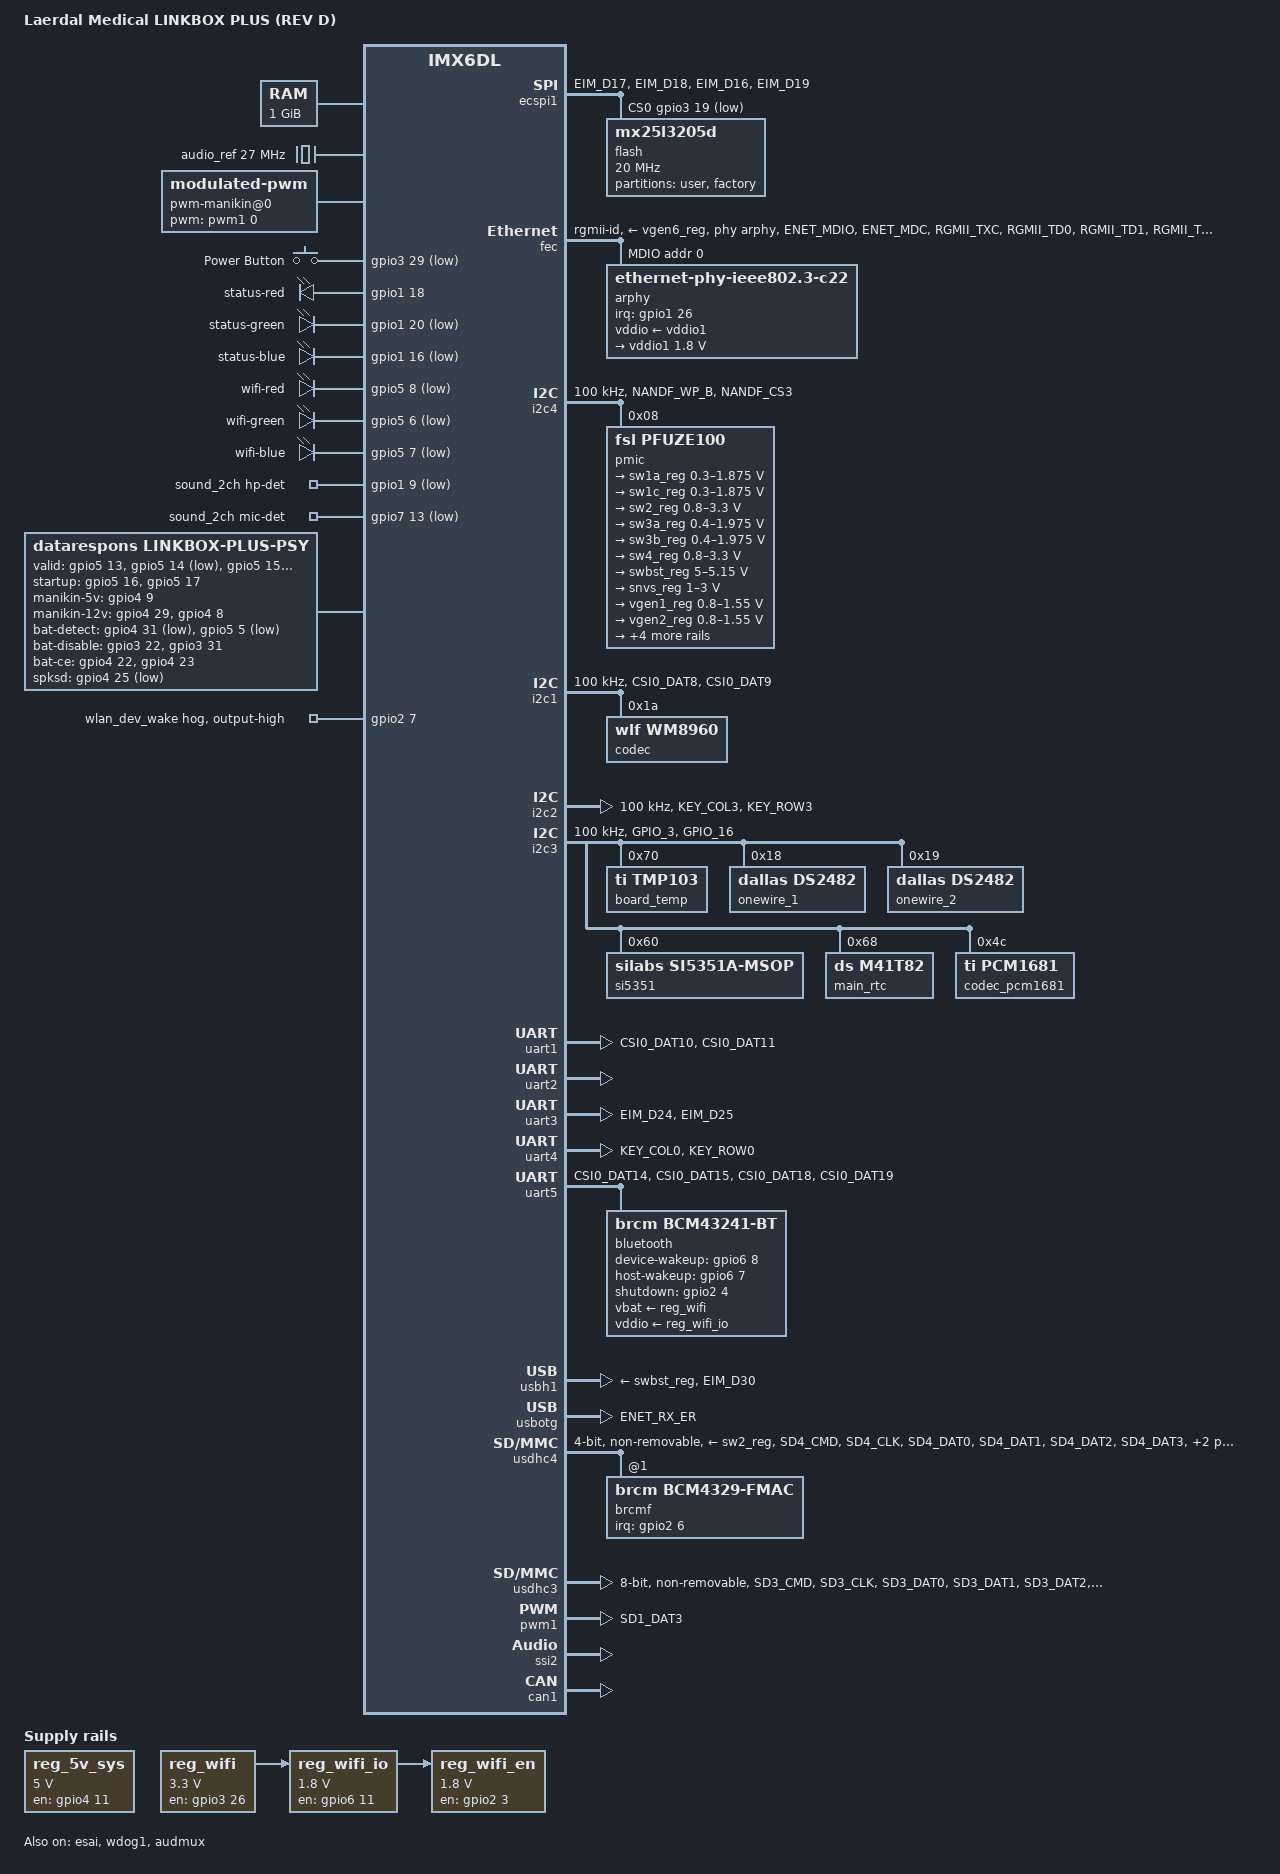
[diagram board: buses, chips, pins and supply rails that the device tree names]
/*
 * Copyright DATA RESPONS AS
 *
 * The code contained herein is licensed under the GNU General Public
 * License. You may obtain a copy of the GNU General Public License
 * Version 2 or later at the following locations:
 *
 * http://www.opensource.org/licenses/gpl-license.html
 * http://www.gnu.org/copyleft/gpl.html
 */

/dts-v1/;

#include "imx6dl.dtsi"
#include <dt-bindings/input/input.h>
#include <dt-bindings/pwm/pwm.h>
#include <dt-bindings/gpio/gpio.h>
#include <dt-bindings/net/qca-ar803x.h>

/ {
	model = "Laerdal Medical LINKBOX PLUS (REV D)";
	compatible = "datarespons,linkbox2", "fsl,imx6dl";

	aliases {
		mmc0 = &usdhc3;
		mmc1 = &usdhc4;
		rtc0 = &main_rtc;
	};

	memory {
		reg = <0x10000000 0x40000000>;
	};

	clocks {
		/* 27MHz reference crystal */
		audio_ref: clock@0 {
			#clock-cells = <0>;
			compatible = "fixed-clock";
			clock-output-names = "esai-clock";
			clock-frequency = <27000000>;
		};

		bt_clk: clock@1 {
			#clock-cells = <0>;
			compatible = "fixed-clock";
			clock-output-names = "lpo";
			clock-frequency = <32768>;
		};
	};

	display-subsystem {
		status = "disabled";
	};

	capture-subsystem {
		status = "disabled";
	};

	regulators {
		compatible = "simple-bus";

		reg_5v_sys: system_5v {
			compatible = "regulator-fixed";
			regulator-name = "5V";
			regulator-min-microvolt = <5000000>;
			regulator-max-microvolt = <5000000>;
			gpio = <&gpio4 11 0>;
			enable-active-high;
			regulator-boot-on;
			regulator-always-on;
		};

		reg_wifi: wifi_pwr {
			compatible = "regulator-fixed";
			regulator-name = "reg_wifi";
			regulator-min-microvolt = <3300000>;
			regulator-max-microvolt = <3300000>;
			gpio = <&gpio3 26 0>;
			enable-active-high;
			regulator-always-on;
		};

		reg_wifi_io: wifi_pwr_io {
			compatible = "regulator-fixed";
			regulator-name = "reg_wifi_io";
			regulator-min-microvolt = <1800000>;
			regulator-max-microvolt = <1800000>;
			gpio = <&gpio6 11 0>;
			enable-active-high;
			vin-supply = <&reg_wifi>;
			startup-delay-us = <100>;
			regulator-always-on;
		};

		reg_wifi_en: wifi_enable {
			compatible = "regulator-fixed";
			regulator-name = "reg_wifi_enable";
			regulator-min-microvolt = <1800000>;
			regulator-max-microvolt = <1800000>;
			gpio = <&gpio2 3 0>;
			enable-active-high;
			vin-supply = <&reg_wifi_io>;
			startup-delay-us = <300>;
			regulator-always-on;
		};

/*
		reg_bt_en: bt_enable {
			compatible = "regulator-fixed";
			regulator-name = "reg_bt_enable";
			regulator-min-microvolt = <1800000>;
			regulator-max-microvolt = <1800000>;
			gpio = <&gpio2 4 0>;
			enable-active-high;
			vin-supply = <&reg_wifi_io>;
			startup-delay-us = <300>;
			regulator-always-on;
		};
*/
	};

	pwm-manikin@0 {
		compatible = "modulated-pwm";
		pwms = <&pwm1 0 40000>;
		status = "okay";
		inverted;
		period = <40000>;
	};

	gpio-keys {
		compatible = "gpio-keys";
		power {
			label = "Power Button";
			gpios = <&gpio3 29 GPIO_ACTIVE_LOW>;
			linux,code = <116>; /* KEY_POWER */
			gpio-key,wakeup;
		};

	};
/*
	user-gpios {
		gpio-spinor-wp {
			gpios = <&gpio3 20 GPIO_ACTIVE_HIGH>;
			status = "okay";
			value = <1>;
		};

		gpio-hw-setting0 {
			gpios = <&gpio3 27 GPIO_ACTIVE_HIGH>;
			status = "okay";
		};

		gpio-hw-setting1 {
			gpios = <&gpio3 28 GPIO_ACTIVE_HIGH>;
			status = "okay";
		};

		gpio-hw-setting2 {
			gpios = <&gpio4 10 GPIO_ACTIVE_HIGH>;
			status = "okay";
		};

		gpio-ddr-setting {
			gpios = <&gpio4 21 GPIO_ACTIVE_HIGH>;
			status = "okay";
		};

		gpio-mcu-rst {
			gpios = <&gpio4 26 GPIO_ACTIVE_LOW>;
			status = "okay";
			bidir;
		};

		gpio-mcu-boot0 {
			gpios = <&gpio4 27 GPIO_ACTIVE_HIGH>;
			status = "okay";
			bidir;
		};

		gpio-mcu-boot1 {
			gpios = <&gpio4 28 GPIO_ACTIVE_HIGH>;
			status = "okay";
			bidir;
		};

		gpio-can-en {
			gpios = <&gpio3 21 GPIO_ACTIVE_HIGH>;
			status = "okay";
			value = <0>;
		};

		gpio-wlan-dev-wake {
			gpios = <&gpio2 7 GPIO_ACTIVE_HIGH>;
			status = "okay";
			value = <1>;
		};


		gpio-pwm3 {
			gpios = <&gpio1 17 GPIO_ACTIVE_HIGH>;
			status = "okay";
			value = <0>;
		};

		gpio-pwm2 {
			gpios = <&gpio1 19 GPIO_ACTIVE_HIGH>;
			status = "okay";
			value = <0>;
		};
	};
*/

	leds {
		compatible = "gpio-leds";

		status-red {
			gpios = <&gpio1 18 GPIO_ACTIVE_HIGH>;
			default-state = "off";
		};

		status-green {
			gpios = <&gpio1 20 GPIO_ACTIVE_LOW>;
			default-state = "on";
			linux,default-trigger = "timer";
		};

		status-blue {
			gpios = <&gpio1 16 GPIO_ACTIVE_LOW>;
			default-state = "off";
		};

		wifi-red {
			gpios = <&gpio5 8 GPIO_ACTIVE_LOW>;
			default-state = "off";
		};

		wifi-green {
			gpios = <&gpio5 6 GPIO_ACTIVE_LOW>;
			default-state = "off";
		};

		wifi-blue {
			gpios = <&gpio5 7 GPIO_ACTIVE_LOW>;
			default-state = "off";
		};
	};

	sound_2ch {
		compatible = "fsl,lm-imx-audio-wm8960";
		model = "wm8960-audio";
		audio-cpu = <&ssi2>;
		audio-codec = <&codec>;
		audio-routing =
			"Headphone Jack", "HP_L",
			"Headphone Jack", "HP_R",
			"Ext Spk", "OUT3",
			"LINPUT1", "AMIC";
		ncpins = "SPK_RP", "SPK_RN", "SPK_LP", "SPK_LN";
		mux-int-port = <2>;
		mux-ext-port = <3>;
		hp-det-gpios = <&gpio1 9 GPIO_ACTIVE_LOW>;
		mic-det-gpios = <&gpio7 13 GPIO_ACTIVE_LOW>;
	};

	sound_8ch {
		compatible = "fsl,imx-audio-pcm1681";
		model = "pcm1681";
		audio-cpu = <&esai>;
		audio-codec = <&codec_pcm1681>;
		extra-supply = "MANIKIN_12V", "MANIKIN_5V";

		audio-routing =
			"OUT1", "VOUT1",
			"OUT2", "VOUT2",
			"OUT3", "VOUT3",
			"OUT4", "VOUT4",
			"OUT5", "VOUT5",
			"OUT6", "VOUT6",
			"OUT7", "VOUT7",
			"OUT8", "VOUT8";
	};

	linkbox-plus-psy {
		status = "okay";
		compatible = "datarespons,linkbox-plus-psy";
		valid-gpios = <&gpio5 13 GPIO_ACTIVE_HIGH &gpio5 14 GPIO_ACTIVE_LOW &gpio5 15 GPIO_ACTIVE_LOW>;
		startup-gpios = <&gpio5 16 GPIO_ACTIVE_HIGH &gpio5 17 GPIO_ACTIVE_HIGH>;
		manikin-5v-gpio = <&gpio4 9 GPIO_ACTIVE_HIGH>;
		manikin-12v-gpio = <&gpio4 29 GPIO_ACTIVE_HIGH &gpio4 8 GPIO_ACTIVE_HIGH>;
		bat-detect-gpios = <&gpio4 31 GPIO_ACTIVE_LOW &gpio5 5 GPIO_ACTIVE_LOW>;
		bat-disable-gpios = <&gpio3 22 GPIO_ACTIVE_HIGH &gpio3 31 GPIO_ACTIVE_HIGH>;
		bat-ce-gpios = <&gpio4 22 GPIO_ACTIVE_HIGH &gpio4 23 GPIO_ACTIVE_HIGH>;
		spksd-gpio = <&gpio4 25 GPIO_ACTIVE_LOW>;
		amp-shutdown-gpio = <&gpio1 5 GPIO_ACTIVE_HIGH>;
		/* clr-status-gpio = <&gpio4 15 GPIO_ACTIVE_HIGH>; */
		i2c-adapter = <&i2c2>;
		ina219-dcin-addr = <0x40>;
		ina219-manikin-addr = <0x41>;
	};

	can-uart-mux {
		pinctrl-names = "uart", "can";
		pinctrl-0 = <&pinctrl_uart2>;
		pinctrl-1 = <&pinctrl_flexcan1>;
		status = "okay";
		compatible = "datarespons,function-mux";
	};
};

&gpio1 {
	gpio-line-names = "", "", "", "", "", "", "", "",
		"", "", "", "", "", "", "", "",
		"", "", "", "", "", "", "", "",
		"", "", "", "", "", "", "", "";
};

&gpio2 {
	gpio-line-names = "", "", "", "", "", "", "", "",
		"", "", "", "", "", "", "", "",
		"", "gpio_pwm3", "", "gpio_pwm2", "", "", "", "",
		"", "", "", "", "", "", "", "";

	wlan_dev_wake {
		gpio-hog;
		gpios = <7 GPIO_ACTIVE_HIGH>;
		output-high;
	};
};

&gpio3 {
	gpio-line-names = "", "", "", "", "", "", "", "",
		"", "", "", "", "", "", "", "",
		"", "", "", "", "spinor_wp", "can_termination", "", "",
		"", "", "", "hwrev0", "hwrev1", "", "", "";
};

&gpio4 {
	gpio-line-names = "", "", "", "", "", "", "", "",
		"", "", "hwrev2", "", "", "", "", "",
		"", "", "", "", "", "", "", "",
		"", "", "mcu_reset", "mcu_boot0", "mcu_boot1", "", "", "";
};

&gpio5 {
	gpio-line-names = "", "", "", "", "", "", "", "",
		"", "", "", "", "", "", "", "",
		"", "", "", "", "", "ddr_setting", "", "",
		"", "", "", "", "", "", "", "";
};

&esai {
	compatible = "fsl,imx35-esai";
	pinctrl-names = "default";
	pinctrl-0 = <&pinctrl_esai_linkbox>;
	status = "okay";
};

&ecspi1 {
	fsl,spi-num-chipselects = <1>;
	cs-gpios = <&gpio3 19 GPIO_ACTIVE_LOW>;
	pinctrl-names = "default";
	pinctrl-0 = <&pinctrl_ecspi1>;
	status = "okay";
	nodma;

	flash: m25p80@0 {
		#address-cells = <1>;
		#size-cells = <1>;
		compatible = "mx25l3205d", "jedec,spi-nor";
		spi-max-frequency = <20000000>;
		reg = <0>;
		partition@0 {
			label = "user";
			reg = <0 0x00200000>;
		};
		partition@200000 {
			label = "factory";
			reg = <0x00200000 0x00200000>;
		};
	};
};

&ecspi2 {
	status = "disabled";
};

&fec {
	pinctrl-names = "default";
	pinctrl-0 = <&pinctrl_enet_lm>;
	phy-mode = "rgmii-id";
	phy-reset-gpios = <&gpio1 25 GPIO_ACTIVE_LOW>;
	status = "okay";
	phy-handle = <&arphy>;
	phy-supply = <&vgen6_reg>;
	mdio {
	   #address-cells = <1>;
	   #size-cells = <0>;
		arphy: ethernet-phy@0 {
			compatible = "ethernet-phy-ieee802.3-c22";
			reg = <0>;
			qca,clk-out-frequency = <125000000>;
			qca,disable-smarteee;
			max-speed = <100>;
			interrupt-parent = <&gpio1>;
			interrupts = <26 IRQ_TYPE_EDGE_FALLING>;
			vddio-supply = <&vddio1>;

			vddio1: vddio-regulator {
				regulator-min-microvolt = <1800000>;
				regulator-max-microvolt = <1800000>;
			};
		};
	};
};

&wdog1 {
	status = "okay";
};

&wdog2 {
	status = "disabled";
};

&i2c4 {
	clock-frequency = <100000>;
	pinctrl-names = "default";
	pinctrl-0 = <&pinctrl_i2c4>;
	status = "okay";

		pmic: pfuze100@8 {
		compatible = "fsl,pfuze100";
		reg = <0x08>;

		regulators {
			sw1a_reg: sw1ab {
				regulator-min-microvolt = <300000>;
				regulator-max-microvolt = <1875000>;
				regulator-boot-on;
				regulator-always-on;
				regulator-ramp-delay = <6250>;
			};

			sw1c_reg: sw1c {
				regulator-min-microvolt = <300000>;
				regulator-max-microvolt = <1875000>;
				regulator-boot-on;
				regulator-always-on;
				regulator-ramp-delay = <6250>;
			};

			sw2_reg: sw2 {
				regulator-min-microvolt = <800000>;
				regulator-max-microvolt = <3300000>;
				regulator-boot-on;
				regulator-always-on;
			};

			sw3a_reg: sw3a {
				regulator-min-microvolt = <400000>;
				regulator-max-microvolt = <1975000>;
				regulator-boot-on;
				regulator-always-on;
			};

			sw3b_reg: sw3b {
				regulator-min-microvolt = <400000>;
				regulator-max-microvolt = <1975000>;
				regulator-boot-on;
				regulator-always-on;
			};

			sw4_reg: sw4 {
				regulator-min-microvolt = <800000>;
				regulator-max-microvolt = <3300000>;
				regulator-boot-on;
				regulator-always-on;
			};

			swbst_reg: swbst {
				regulator-min-microvolt = <5000000>;
				regulator-max-microvolt = <5150000>;
				regulator-boot-on;
				regulator-always-on;
			};

			snvs_reg: vsnvs {
				regulator-min-microvolt = <1000000>;
				regulator-max-microvolt = <3000000>;
				regulator-boot-on;
				regulator-always-on;
			};

			vref_reg: vrefddr {
				regulator-boot-on;
				regulator-always-on;
			};

			vgen1_reg: vgen1 {
				regulator-min-microvolt = <800000>;
				regulator-max-microvolt = <1550000>;
			};

			vgen2_reg: vgen2 {
				regulator-min-microvolt = <800000>;
				regulator-max-microvolt = <1550000>;
			};

			vgen3_reg: vgen3 {
				regulator-min-microvolt = <1800000>;
				regulator-max-microvolt = <3300000>;
			};

			vgen4_reg: vgen4 {
				regulator-min-microvolt = <1500000>;
				regulator-max-microvolt = <3300000>;
				regulator-always-on;
			};

			vgen5_reg: vgen5 {
				regulator-min-microvolt = <1800000>;
				regulator-max-microvolt = <3300000>;
				regulator-always-on;
			};

			vgen6_reg: vgen6 {
				regulator-min-microvolt = <1800000>;
				regulator-max-microvolt = <3300000>;
				regulator-boot-on;
				regulator-always-on;
			};
		};
	};

};

&i2c1 {
	clock-frequency = <100000>;
	pinctrl-names = "default";
	pinctrl-0 = <&pinctrl_i2c1>;
	status = "okay";

	codec: wm8960@1a {
		compatible = "wlf,wm8960";
		reg = <0x1a>;
		clocks = <&clks IMX6QDL_CLK_CKO>;
		clock-names = "mclk";
		wlf,shared-lrclk;
		default-pll-lrclk = <48000>;
		default-pll-bclk = <2304000>;
		status = "okay";
	   };

};

&i2c2 {
	clock-frequency = <100000>;
	pinctrl-names = "default";
	pinctrl-0 = <&pinctrl_i2c2>;
	status = "okay";
};

&i2c3 {
	clock-frequency = <100000>;
	pinctrl-names = "default";
	pinctrl-0 = <&pinctrl_i2c3>;
	status = "okay";

	board_temp: tmp103@70 {
		compatible = "ti,tmp103";
		reg = <0x70>;
	};

	onewire_1: ds2482@18 {
		reg = <0x18>;
		compatible = "dallas,ds2482";
	};

	onewire_2: ds2482@19 {
		reg = <0x19>;
		compatible = "dallas,ds2482";
	};

   si5351: clock-generator@60 {
		compatible = "silabs,si5351a-msop";
		reg = <0x60>;
		#address-cells = <1>;
		#size-cells = <0>;
		#clock-cells = <1>;

		/* connect xtal input to 27MHz reference */
		clocks = <&audio_ref>;
		clock-names = "xtal";

		/* connect xtal input as source of pll0 and pll1 */
		silabs,pll-source = <0 0>, <1 0>;

		clkout0 {
			reg = <0>;
			silabs,drive-strength = <8>;
			silabs,multisynth-source = <0>;
			silabs,clock-source = <0>;
			silabs,pll-master;
			clock-frequency = <24576000>;
		};

	};

	main_rtc: rtc-m41t82@68 {
		compatible = "ds,m41t82";
		reg = <0x68>;
		xtal-cap = /bits/ 8 <0xc8>;		/* Fix for HW bug, turn off capacitance */
	};

	codec_pcm1681: pcm1681@4c {
		compatible = "ti,pcm1681";
		clocks = <&si5351 0>;
		clock-names = "mclk";
		reg = <0x4c>;
	};
};


&iomuxc {
	pinctrl-names = "default";
	pinctrl-0 = <&pinctrl_hog_1>;

	hog {
		pinctrl_hog_1: hoggrp-1 {
			fsl,pins = <
				MX6QDL_PAD_KEY_COL1__GPIO4_IO08     0x80000000      /* AUX_12V_EN (manikin) */
				MX6QDL_PAD_KEY_ROW1__GPIO4_IO09     0x80000000      /* AUX_5V_EN (manikin) */
				MX6QDL_PAD_KEY_ROW2__GPIO4_IO11     0x80000000      /* VCC_5V_EN (system 5v) */
				MX6QDL_PAD_KEY_ROW4__GPIO4_IO15     0x80000000      /* CLR_STATUS */
				MX6QDL_PAD_GPIO_0__CCM_CLKO1        0x000130b0      /* External audio clk */
				MX6QDL_PAD_GPIO_5__GPIO1_IO05       0x80000000      /* SPK_SD_N */
				MX6QDL_PAD_GPIO_9__GPIO1_IO09       0x0001b000      /* HP_DET, pullup */
				MX6QDL_PAD_GPIO_18__GPIO7_IO13      0x0001b0b1      /* Mic detect, pullup */
				MX6QDL_PAD_GPIO_19__GPIO4_IO05      0x0001b0b1      /* DC_IN_nFLG (used as alert) */
				MX6QDL_PAD_NANDF_CS0__GPIO6_IO11    0x00000060      /* GP--WL_VDDIO_EN */

				MX6QDL_PAD_NANDF_RB0__GPIO6_IO10    0x0001b000      /* PMIC_INT_B */
				MX6QDL_PAD_NANDF_D3__GPIO2_IO03     0x00000060      /* WL_REG_ON (WiFI power) */
				MX6QDL_PAD_EIM_A25__GPIO5_IO02      0x0001b000      /* Recovery_setting (control boot) */
				MX6QDL_PAD_EIM_D20__GPIO3_IO20      0x80000000      /* GP--nWP--flash (SPI flash WP) */
				MX6QDL_PAD_EIM_D21__GPIO3_IO21      0x80000000      /* CAN_EN */
				MX6QDL_PAD_EIM_D22__GPIO3_IO22      0x00002071		/* UV2 */
				MX6QDL_PAD_EIM_D26__GPIO3_IO26      0x00000060      /* GP--WL_BAT_PWR_EN */
				MX6QDL_PAD_EIM_D27__GPIO3_IO27      0x0001b000      /* HW_Setting_0 */
				MX6QDL_PAD_EIM_D28__GPIO3_IO28      0x0001b000      /* HW_Setting_1 */
				MX6QDL_PAD_EIM_D29__GPIO3_IO29      0x0001b000      /* PPWR_BTN_SNS */
				MX6QDL_PAD_EIM_D31__GPIO3_IO31      0x00002071      /* UV3 */
				MX6QDL_PAD_SD1_CMD__GPIO1_IO18      0x80000000      /* LED_R_Status--CPU */
				MX6QDL_PAD_SD1_CLK__GPIO1_IO20      0x80000000      /* LED_G_Status--CPU */
				MX6QDL_PAD_SD1_DAT0__GPIO1_IO16     0x80000000      /* LED_B_Status--CPU */
				MX6QDL_PAD_SD1_DAT1__GPIO1_IO17     0x80000000      /* PWM3 (as gpio) */
				MX6QDL_PAD_SD1_DAT2__GPIO1_IO19     0x80000000      /* PWM2 (as gpio) */
				MX6QDL_PAD_ENET_CRS_DV__GPIO1_IO25  0x80000000      /* Phy reset (low) */
				MX6QDL_PAD_ENET_RXD0__GPIO1_IO27    0x80000000      /* Schematic error, set to input */
				MX6QDL_PAD_ENET_RXD1__GPIO1_IO26    0x80000000      /* Phy IRQ */
				MX6QDL_PAD_DISP0_DAT0__GPIO4_IO21   0x0001b0b1	    /* DDR Setting */
				MX6QDL_PAD_DISP0_DAT1__GPIO4_IO22	0x80000000		/* BAT1_CHP_L2	*/
				MX6QDL_PAD_DISP0_DAT2__GPIO4_IO23   0x80000000      /* BAT2_CHP_L2  */
				MX6QDL_PAD_DISP0_DAT4__GPIO4_IO25   0x80000000      /* AC5W_SD */
				MX6QDL_PAD_DISP0_DAT5__GPIO4_IO26   0x00000878      /* MCU_RST (OD) */
				MX6QDL_PAD_DISP0_DAT6__GPIO4_IO27   0x80000000      /* MCU_BOOT0 */
				MX6QDL_PAD_DISP0_DAT7__GPIO4_IO28   0x80000000      /* MCU_BOOT1 */
				MX6QDL_PAD_DISP0_DAT8__GPIO4_IO29   0x80000000      /* BOOST_12V_EN */
				MX6QDL_PAD_DISP0_DAT10__GPIO4_IO31  0x0001b000      /* BAT1_DET_N */
				MX6QDL_PAD_DISP0_DAT11__GPIO5_IO05  0x0001b000      /* BAT2_DET_N */
				MX6QDL_PAD_DISP0_DAT12__GPIO5_IO06  0x80000000      /* WIFI_LED_G */
				MX6QDL_PAD_DISP0_DAT13__GPIO5_IO07  0x80000000      /* WIFI_LED_B */
				MX6QDL_PAD_DISP0_DAT14__GPIO5_IO08  0x80000000      /* WIFI_LED_R */
				MX6QDL_PAD_DISP0_DAT19__GPIO5_IO13  0x80000000      /* DCIN_VALID (high) */
				MX6QDL_PAD_DISP0_DAT20__GPIO5_IO14  0x1b0b1         /* nVALID_2 */
				MX6QDL_PAD_DISP0_DAT21__GPIO5_IO15  0x1b0b1      	/* nVALID_3 */
				MX6QDL_PAD_DISP0_DAT22__GPIO5_IO16  0x80000000      /* START_ADAPTER */
				MX6QDL_PAD_DISP0_DAT23__GPIO5_IO17  0x80000000      /* START_KEY */
			>;
		};
	};

	bluetooth {
		pinctrl_bt1: bt1grp {
			fsl,pins = <
				MX6QDL_PAD_NANDF_D4__GPIO2_IO04     0x00000060      /* BT_REG_ON (Bluetooth power) */
				MX6QDL_PAD_NANDF_CLE__GPIO6_IO07    0x0001b010      /* GP--BT_HOST_WAKE */
				MX6QDL_PAD_NANDF_ALE__GPIO6_IO08    0x00000060      /* GP--BT_WAKE */
				MX6QDL_PAD_NANDF_D5__GPIO2_IO05     0x0001E060      /* BT clock request */
			>;
		};
	};

	wifi {
		pinctrl_wifi1: wifi1grp {
			fsl,pins = <
				MX6QDL_PAD_NANDF_D6__GPIO2_IO06     0x0001b010      /* GP--WL_HOST_WAKE */
				MX6QDL_PAD_NANDF_D7__GPIO2_IO07     0x00000060      /* GP--WL_DEV_WAKE */
			>;
		};
	};

	ecspi1 {
		pinctrl_ecspi1: ecspi1grp {
			fsl,pins = <
				MX6QDL_PAD_EIM_D17__ECSPI1_MISO 0x100b1
				MX6QDL_PAD_EIM_D18__ECSPI1_MOSI 0x100b1
				MX6QDL_PAD_EIM_D16__ECSPI1_SCLK 0x100b1
				MX6QDL_PAD_EIM_D19__GPIO3_IO19  0x100b1
			>;
		};
	};

	ecspi2 {
		pinctrl_ecspi2: ecspi2grp {
			fsl,pins = <
				MX6QDL_PAD_EIM_OE__ECSPI2_MISO  0x100b1
				MX6QDL_PAD_EIM_CS1__ECSPI2_MOSI 0x100b1
				MX6QDL_PAD_EIM_CS0__ECSPI2_SCLK 0x100b1
				MX6QDL_PAD_DISP0_DAT18__GPIO5_IO12  0x100b1
			>;
		};
	};

	flexcan1 {
		pinctrl_flexcan1: flexcan1grp {
			fsl,pins = <
				MX6QDL_PAD_GPIO_7__FLEXCAN1_TX 	0x1b0b1
				MX6QDL_PAD_GPIO_8__FLEXCAN1_RX	0x1b0b1
			>;
		};
	};

	uart1 {
		pinctrl_uart1: uart1grp {
			fsl,pins = <
				MX6QDL_PAD_CSI0_DAT10__UART1_TX_DATA    0x1b0b1
				MX6QDL_PAD_CSI0_DAT11__UART1_RX_DATA    0x1b0b1
			>;
		};
	};

	uart2 {
		pinctrl_uart2: uart2grp {
			fsl,pins = <
				MX6QDL_PAD_GPIO_7__UART2_TX_DATA    0x1b0b1
				MX6QDL_PAD_GPIO_8__UART2_RX_DATA    0x1b0b1
			>;
		};
	};

	uart3 {
		pinctrl_uart3: uart3grp {
			fsl,pins = <
				MX6QDL_PAD_EIM_D24__UART3_TX_DATA   0x1b0b1
				MX6QDL_PAD_EIM_D25__UART3_RX_DATA   0x1b0b1
			>;
		};
	};

	uart4 {
		pinctrl_uart4: uart4grp {
			fsl,pins = <
				MX6QDL_PAD_KEY_COL0__UART4_TX_DATA  0x1b0b1
				MX6QDL_PAD_KEY_ROW0__UART4_RX_DATA  0x1b0b1
			>;
		};
	};

	pwm1 {
		pinctrl_pwm1: pwm1grp {
			fsl,pins = <
				MX6QDL_PAD_SD1_DAT3__PWM1_OUT       0x1b0f1
			>;
		};
	};

	pwm2 {
		pinctrl_pwm2: pwm2grp {
			fsl,pins = <
				MX6QDL_PAD_SD1_DAT2__PWM2_OUT 0x1b0b1
			>;
		};
	};

	pwm3 {
		pinctrl_pwm3_lb: pwm3grp-lb {
			fsl,pins = <
				MX6QDL_PAD_SD1_DAT1__PWM3_OUT 0x1b0b1
			>;
		};
	};

	usbotg {
		pinctrl_usbotg: usbotggrp {
			fsl,pins = <
				MX6QDL_PAD_ENET_RX_ER__USB_OTG_ID   0x17059
			>;
		};
	};

	usbh1 {
		pinctrl_usbh1: usbh1grp {
			fsl,pins = < MX6QDL_PAD_EIM_D30__USB_H1_OC 0x17059 >;
		};
	};

	usdhc3 {
		pinctrl_usdhc3: usdhc3grp {
			fsl,pins = <
				MX6QDL_PAD_SD3_CMD__SD3_CMD     0x17059
				MX6QDL_PAD_SD3_CLK__SD3_CLK     0x10059
				MX6QDL_PAD_SD3_DAT0__SD3_DATA0      0x17059
				MX6QDL_PAD_SD3_DAT1__SD3_DATA1      0x17059
				MX6QDL_PAD_SD3_DAT2__SD3_DATA2      0x17059
				MX6QDL_PAD_SD3_DAT3__SD3_DATA3      0x17059
				MX6QDL_PAD_SD3_DAT4__SD3_DATA4      0x17059
				MX6QDL_PAD_SD3_DAT5__SD3_DATA5      0x17059
				MX6QDL_PAD_SD3_DAT6__SD3_DATA6      0x17059
				MX6QDL_PAD_SD3_DAT7__SD3_DATA7      0x17059
			>;
		};
	};

	usdhc4 {
		pinctrl_usdhc4: usdhc4grp {
			fsl,pins = <
				MX6QDL_PAD_SD4_CMD__SD4_CMD     0x17059
				MX6QDL_PAD_SD4_CLK__SD4_CLK     0x10059
				MX6QDL_PAD_SD4_DAT0__SD4_DATA0      0x17059
				MX6QDL_PAD_SD4_DAT1__SD4_DATA1      0x17059
				MX6QDL_PAD_SD4_DAT2__SD4_DATA2      0x17059
				MX6QDL_PAD_SD4_DAT3__SD4_DATA3      0x17059
			>;
		};

		pinctrl_usdhc4_100mhz: usdhc4grp_100mhz {
			fsl,pins = <
				MX6QDL_PAD_SD4_CMD__SD4_CMD    0x170B1
				MX6QDL_PAD_SD4_CLK__SD4_CLK    0x100B1
				MX6QDL_PAD_SD4_DAT0__SD4_DATA0 0x170B1
				MX6QDL_PAD_SD4_DAT1__SD4_DATA1 0x170B1
				MX6QDL_PAD_SD4_DAT2__SD4_DATA2 0x170B1
				MX6QDL_PAD_SD4_DAT3__SD4_DATA3 0x170B1
			>;
		};

		pinctrl_usdhc4_200mhz: usdhc4grp_200mhz {
			fsl,pins = <
				MX6QDL_PAD_SD4_CMD__SD4_CMD    0x170F9
				MX6QDL_PAD_SD4_CLK__SD4_CLK    0x100F9
				MX6QDL_PAD_SD4_DAT0__SD4_DATA0 0x170F9
				MX6QDL_PAD_SD4_DAT1__SD4_DATA1 0x170F9
				MX6QDL_PAD_SD4_DAT2__SD4_DATA2 0x170F9
				MX6QDL_PAD_SD4_DAT3__SD4_DATA3 0x170F9
			>;
		};
	};

	audmux {
		pinctrl_audmux: audmuxgrp {
			fsl,pins = <
				MX6QDL_PAD_CSI0_DAT7__AUD3_RXD      0x130b0
				MX6QDL_PAD_CSI0_DAT4__AUD3_TXC      0x130b0
				MX6QDL_PAD_CSI0_DAT5__AUD3_TXD      0x110b0
				MX6QDL_PAD_CSI0_DAT6__AUD3_TXFS     0x130b0
				MX6QDL_PAD_SD2_DAT0__AUD4_RXD       0x130b0
				MX6QDL_PAD_SD2_DAT3__AUD4_TXC       0x130b0
				MX6QDL_PAD_SD2_DAT2__AUD4_TXD       0x110b0
				MX6QDL_PAD_SD2_DAT1__AUD4_TXFS      0x130b0
				MX6QDL_PAD_SD2_CMD__AUD4_RXC        0x130b0
			>;
		};
	};

	esai {
		pinctrl_esai_linkbox: esaigrp-linkbox {
			fsl,pins = <
				MX6QDL_PAD_GPIO_6__ESAI_TX_CLK      0x1b030
				MX6QDL_PAD_GPIO_2__ESAI_TX_FS       0x1b030
				MX6QDL_PAD_GPIO_17__ESAI_TX0        0x1b030
				MX6QDL_PAD_GPIO_4__ESAI_TX_HF_CLK   0x80000000
			>;
		};
	};

	i2c1 {
		pinctrl_i2c1: i2c1grp {
			fsl,pins = <
				MX6QDL_PAD_CSI0_DAT8__I2C1_SDA      0x4001b8b1
				MX6QDL_PAD_CSI0_DAT9__I2C1_SCL      0x4001b8b1
			>;
		};
	};


	i2c2 {
		pinctrl_i2c2: i2c2grp {
			fsl,pins = <
				MX6QDL_PAD_KEY_COL3__I2C2_SCL 0x4001b8b1
				MX6QDL_PAD_KEY_ROW3__I2C2_SDA 0x4001b8b1
			>;
		};
	};

	i2c3 {
		pinctrl_i2c3: i2c3grp {
			fsl,pins = <
				MX6QDL_PAD_GPIO_3__I2C3_SCL 0x4001b8b1
				MX6QDL_PAD_GPIO_16__I2C3_SDA 0x4001b8b1
			>;
		};
	};

	i2c4 {
		pinctrl_i2c4: i2c4grp {
			fsl,pins = <
				MX6QDL_PAD_NANDF_WP_B__I2C4_SCL 0x4001b8b1
				MX6QDL_PAD_NANDF_CS3__I2C4_SDA 0x4001b8b1
			>;
		};
	};

	enet {
		pinctrl_enet_lm: enetgrp-lb2 {
			fsl,pins = <
				MX6QDL_PAD_ENET_MDIO__ENET_MDIO       0x1b0b0
				MX6QDL_PAD_ENET_MDC__ENET_MDC         0x1b0b0
				MX6QDL_PAD_RGMII_TXC__RGMII_TXC       0x1b0b0
				MX6QDL_PAD_RGMII_TD0__RGMII_TD0       0x1b0b0
				MX6QDL_PAD_RGMII_TD1__RGMII_TD1       0x1b0b0
				MX6QDL_PAD_RGMII_TD2__RGMII_TD2       0x1b0b0
				MX6QDL_PAD_RGMII_TD3__RGMII_TD3       0x1b0b0
				MX6QDL_PAD_RGMII_TX_CTL__RGMII_TX_CTL 0x1b0b0
				MX6QDL_PAD_ENET_REF_CLK__ENET_TX_CLK  0x40000000
				MX6QDL_PAD_RGMII_RXC__RGMII_RXC       0x1b0b0
				MX6QDL_PAD_RGMII_RD0__RGMII_RD0       0x1b0b0
				MX6QDL_PAD_RGMII_RD1__RGMII_RD1       0x1b0b0
				MX6QDL_PAD_RGMII_RD2__RGMII_RD2       0x1b0b0
				MX6QDL_PAD_RGMII_RD3__RGMII_RD3       0x1b0b0
				MX6QDL_PAD_RGMII_RX_CTL__RGMII_RX_CTL 0x1b0b0
			>;
		};
	};

	uart5 {
		pinctrl_uart5_linkbox2: uart5grp-linkbox2 {
		fsl,pins = <
			MX6QDL_PAD_CSI0_DAT14__UART5_TX_DATA 0x1b0b1
			MX6QDL_PAD_CSI0_DAT15__UART5_RX_DATA 0x1b0b1
			MX6QDL_PAD_CSI0_DAT18__UART5_RTS_B   0x1b0b1
			MX6QDL_PAD_CSI0_DAT19__UART5_CTS_B   0x1b0b1
		>;
		};

		pinctrl_uart5_dte_linkbox2: uart5grp-dte_linkbox2 {
		fsl,pins = <
			MX6QDL_PAD_CSI0_DAT14__UART5_RX_DATA 0x1b0b1
			MX6QDL_PAD_CSI0_DAT15__UART5_TX_DATA 0x1b0b1
			MX6QDL_PAD_CSI0_DAT18__UART5_CTS_B   0x1b0b1
			MX6QDL_PAD_CSI0_DAT19__UART5_RTS_B   0x1b0b1
		>;
		};
	};

};

&ldb {
	status = "disabled";
	};

&pcie {
	status = "disabled";
};

&uart1 {
	pinctrl-names = "default";
	pinctrl-0 = <&pinctrl_uart1>;
	status = "okay";
};

&uart2 {
	status = "okay";
};

&uart3 {
	pinctrl-names = "default";
	pinctrl-0 = <&pinctrl_uart3>;
	status = "okay";
};

&uart4 {
	pinctrl-names = "default";
	pinctrl-0 = <&pinctrl_uart4>;
	status = "okay";
};

&uart5 {
	pinctrl-names = "default";
	pinctrl-0 = <&pinctrl_uart5_linkbox2>;
	uart-has-rtscts;
	status = "okay";

	bluetooth {
		compatible = "brcm,bcm43241-bt";
		clocks = <&bt_clk 0>;
		clock-names = "lpo";
		max-speed = <921600>;
		device-wakeup-gpios = <&gpio6 8 GPIO_ACTIVE_HIGH>;
		host-wakeup-gpios = <&gpio6 7 GPIO_ACTIVE_HIGH>;
		shutdown-gpios = <&gpio2 4 GPIO_ACTIVE_HIGH>;
		pinctrl-names = "default";
		pinctrl-0 = <&pinctrl_bt1>;
		vbat-supply = <&reg_wifi>;
		vddio-supply = <&reg_wifi_io>;
	};
};

&usbh1 {
	pinctrl-names = "default";
	pinctrl-0 = <&pinctrl_usbh1>;
	vbus-supply = <&swbst_reg>;
	over-current-active-low;
	status = "okay";
};

&usbotg {
	pinctrl-names = "default";
	pinctrl-0 = <&pinctrl_usbotg>;
	disable_over_current;
	srp-disable;
	hnp-disable;
	adp-disable;
	status = "okay";
};

&usdhc2 {
	status = "disabled";
};

&usdhc4 {
	pinctrl-names = "default";
	pinctrl-0 = <&pinctrl_usdhc4_100mhz &pinctrl_wifi1>;
	bus-width = <4>;
	non-removable;
	/* no-1-8-v; */
	keep-power-in-suspend;
	/delete-property/ enable-sdio-wakeup;
	status = "okay";
	pm-ignore-notify;
	vmmc-supply = <&sw2_reg>;
	vqmmc-supply = <&vgen4_reg>;
	voltage-ranges = <1800 3300>;
	sd-uhs-ddr50;

	#address-cells = <1>;
	#size-cells = <0>;
	brcmf: wifi@1 {
		compatible = "brcm,bcm4329-fmac";
		reg = <1>;
		interrupt-parent = <&gpio2>;
		interrupts = <6 IRQ_TYPE_LEVEL_LOW>;
		interrupt-names = "host-wake";
	};
};

&usdhc3 {
	pinctrl-names = "default";
	pinctrl-0 = <&pinctrl_usdhc3>;
	bus-width = <8>;
	non-removable;
	keep-power-in-suspend;
	voltage-ranges = <1800 3300>;
	status = "okay";
};


&pwm1 {
	#pwm-cells = <2>;
	pinctrl-names = "default";
	pinctrl-0 = <&pinctrl_pwm1>;
	status = "okay";
};

&pwm2 {
	/*pinctrl-names = "default";
	pinctrl-0 = <&pinctrl_pwm2>; */
	status = "disabled";
};

&pwm3 {
	/* pinctrl-names = "default";
	pinctrl-0 = <&pinctrl_pwm3_lb>; */
	status = "disabled";
};

&pwm4 {
	status = "disabled";
};

&epdc {
	status = "disabled";
};

&audmux {
	pinctrl-names = "default";
	pinctrl-0 = <&pinctrl_audmux>;
	status = "okay";
};

&clks {
	assigned-clocks = <&clks IMX6QDL_CLK_PLL4_AUDIO_DIV>,
			  <&clks IMX6QDL_PLL4_BYPASS>,
			  <&clks IMX6QDL_CLK_ESAI_SEL>,
			  <&clks IMX6QDL_CLK_ESAI_EXTAL>;
	assigned-clock-parents = <&clks IMX6QDL_CLK_PLL4_POST_DIV>,
				<&clks IMX6QDL_CLK_PLL4>, <&clks IMX6QDL_CLK_PLL4_AUDIO_DIV>;
	assigned-clock-rates = <737280000>, <0>, <0>, <24576000>;
};

&ssi2 {
	fsl,mode = "i2s-slave";
	status = "okay";
};

&ipu1 {
	status = "disabled";
};

&can1 {
	trx-en-gpio = <&gpio3 21 GPIO_ACTIVE_HIGH>;
	status = "okay";
};

&snvs_poweroff {
	status = "okay";
};

&vpu {
	status = "disabled";
};

&vpu_fsl {
	status = "disabled";
};
&gpu {
	status = "disabled";
};

&gpu_3d {
	status = "disabled";
};

&gpu_2d {
	status = "disabled";
};

&hdmi {
	status = "disabled";
};

&hdmi_core {
	status = "disabled";
};

&hdmi_video {
	status = "disabled";
};

&hdmi_cec {
	status = "disabled";
};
